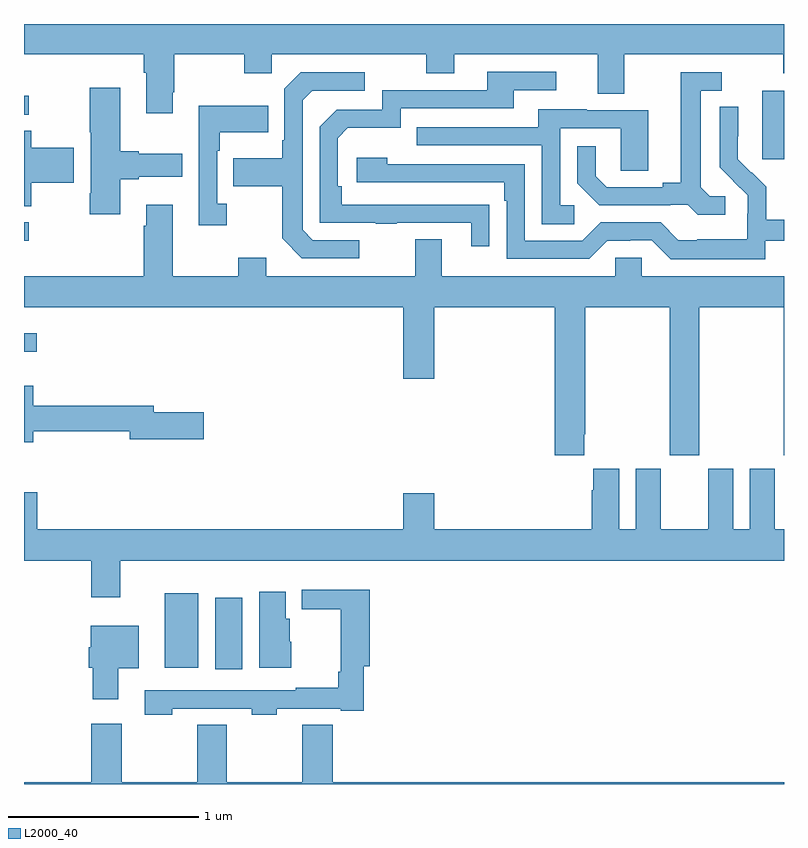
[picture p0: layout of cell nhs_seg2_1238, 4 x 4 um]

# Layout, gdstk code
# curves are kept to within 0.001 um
import gdstk
lib = gdstk.Library(unit=1e-6, precision=1e-09)
def R(c, l, rs):  # rectangles x0, y0, x1, y1
    for r in rs: c.add(gdstk.rectangle(r[:2], r[2:], *l))
def P(c, l, *ps):  # polygons
    for p in ps: c.add(gdstk.Polygon(p, *l))
L2000_40 = (2000, 40)

nhs_seg2_1238 = lib.new_cell('nhs_seg2_1238')
R(nhs_seg2_1238, L2000_40, [(176.006,640.404,176.149,640.78), (175.742,640.412,175.918,640.804), (175,642.075,175.066,642.172), (175,642.66,175.024,642.756), (178.886,643.089,179,643.45), (175,643.323,175.024,643.422)])
P(nhs_seg2_1238, L2000_40, [(175.783,643.441),(175.791,643.441),(175.791,643.64),(176.158,643.64),(176.158,643.541),(176.304,643.541),(176.304,643.64),(177.118,643.64),(177.118,643.541),(177.265,643.541),(177.265,643.64),(178.019,643.64),(178.019,643.432),(178.159,643.432),(178.159,643.64),(178.996,643.64),(178.996,643.541),(179,643.541),(179,643.8),(175,643.8),(175,643.64),(175.631,643.64),(175.631,643.544),(175.643,643.544),(175.643,643.329),(175.783,643.329)],
  [(177.449,642.848),(176.672,642.849),(176.672,642.946),(176.652,642.946),(176.652,643.2),(176.705,643.253),(176.982,643.253),(176.982,643.356),(177.577,643.356),(177.577,643.452),(177.802,643.452),(177.802,643.548),(177.437,643.548),(177.437,643.452),(176.886,643.452),(176.886,643.35),(176.646,643.35),(176.556,643.26),(176.556,642.753),(176.851,642.753),(176.851,642.748),(176.963,642.748),(176.963,642.753),(177.353,642.753),(177.353,642.63),(177.449,642.63)],
  [(176.764,642.663),(176.52,642.663),(176.466,642.717),(176.466,643.398),(176.517,643.449),(176.794,643.449),(176.794,643.545),(176.457,643.545),(176.37,643.458),(176.37,643.189),(176.358,643.189),(176.358,643.093),(176.101,643.093),(176.101,642.946),(176.358,642.946),(176.358,642.673),(176.463,642.567),(176.764,642.567)],
  [(178.69,642.894),(178.608,642.894),(178.561,642.941),(178.561,643.449),(178.672,643.449),(178.672,643.545),(178.457,643.545),(178.457,642.965),(178.361,642.965),(178.361,642.942),(178.066,642.942),(178.009,642.999),(178.009,643.156),(177.912,643.156),(177.912,642.962),(178.028,642.846),(178.4,642.846),(178.4,642.849),(178.494,642.849),(178.546,642.797),(178.69,642.797)],
  [(175.507,642.983),(175.603,642.983),(175.603,642.995),(175.834,642.995),(175.834,643.117),(175.603,643.117),(175.603,643.13),(175.507,643.13),(175.507,643.465),(175.345,643.465),(175.345,643.231),(175.352,643.231),(175.352,642.91),(175.345,642.91),(175.345,642.798),(175.507,642.798)],
  [(176.068,642.854),(176.016,642.854),(176.016,643.133),(176.029,643.133),(176.029,643.229),(176.285,643.229),(176.285,643.369),(175.92,643.369),(175.92,642.741),(176.068,642.741)],
  [(178.902,642.66),(179,642.66),(179,642.769),(178.907,642.769),(178.907,642.943),(178.83,643.02),(178.827,643.017),(178.757,643.088),(178.758,643.364),(178.662,643.364),(178.662,643.046),(178.808,642.898),(178.808,642.801),(178.806,642.801),(178.806,642.667),(178.543,642.667),(178.543,642.663),(178.443,642.663),(178.35,642.756),(178.035,642.756),(177.939,642.66),(177.636,642.66),(177.636,643.062),(176.912,643.062),(176.912,643.096),(176.751,643.096),(176.751,642.966),(177.527,642.966),(177.527,642.869),(177.54,642.869),(177.54,642.564),(177.975,642.564),(178.071,642.66),(178.19,642.66),(178.19,642.663),(178.305,642.663),(178.405,642.563),(178.902,642.563)],
  [(177.895,642.846),(177.822,642.846),(177.822,643.251),(178.14,643.251),(178.14,643.027),(178.285,643.027),(178.285,643.347),(177.961,643.347),(177.961,643.351),(177.707,643.351),(177.707,643.257),(177.067,643.257),(177.067,643.161),(177.726,643.161),(177.726,642.745),(177.895,642.745)],
  [(175.038,642.965),(175.261,642.965),(175.261,643.148),(175.038,643.148),(175.038,643.238),(175,643.238),(175,642.841),(175.038,642.841)],
  [(177.949,641.641),(177.954,641.641),(177.954,642.308),(178.399,642.308),(178.399,641.529),(178.554,641.529),(178.554,642.308),(178.999,642.308),(178.999,641.529),(179,641.529),(179,642.472),(178.251,642.472),(178.251,642.57),(178.113,642.57),(178.113,642.472),(177.199,642.472),(177.199,642.667),(177.059,642.667),(177.059,642.472),(176.275,642.472),(176.275,642.571),(176.128,642.571),(176.128,642.472),(175.783,642.472),(175.783,642.85),(175.643,642.85),(175.643,642.737),(175.631,642.737),(175.631,642.472),(175,642.472),(175,642.308),(176.996,642.308),(176.996,641.934),(177.16,641.934),(177.16,642.308),(177.794,642.308),(177.794,641.529),(177.949,641.529)],
  [(175.048,641.656),(175.556,641.656),(175.556,641.614),(175.945,641.614),(175.945,641.756),(175.684,641.756),(175.684,641.792),(175.048,641.792),(175.048,641.896),(175,641.896),(175,641.6),(175.048,641.6)],
  [(175.507,640.976),(179,640.976),(179,641.14),(178.951,641.14),(178.951,641.458),(178.82,641.458),(178.82,641.14),(178.732,641.14),(178.732,641.458),(178.601,641.458),(178.601,641.14),(178.351,641.14),(178.351,641.458),(178.22,641.458),(178.22,641.14),(178.132,641.14),(178.132,641.458),(177.995,641.458),(177.995,641.345),(177.989,641.345),(177.989,641.14),(177.16,641.14),(177.16,641.329),(176.996,641.329),(176.996,641.14),(175.07,641.14),(175.07,641.335),(175,641.335),(175,640.976),(175.355,640.976),(175.355,640.782),(175.507,640.782)],
  [(175.779,640.197),(176.199,640.197),(176.199,640.165),(176.331,640.165),(176.331,640.197),(176.666,640.197),(176.666,640.185),(176.789,640.185),(176.789,640.421),(176.819,640.421),(176.819,640.822),(176.463,640.822),(176.463,640.72),(176.668,640.72),(176.668,640.39),(176.653,640.39),(176.653,640.306),(176.431,640.306),(176.431,640.293),(175.635,640.293),(175.635,640.165),(175.779,640.165)],
  [(176.407,640.548),(176.398,640.548),(176.398,640.671),(176.377,640.671),(176.377,640.813),(176.237,640.813),(176.237,640.412),(176.407,640.412)],
  [(175.495,640.409),(175.603,640.409),(175.603,640.633),(175.352,640.633),(175.352,640.521),(175.34,640.521),(175.34,640.413),(175.361,640.413),(175.361,640.245),(175.495,640.245)],
  [(179,639.808),(176.624,639.808),(176.624,640.112),(176.464,640.112),(176.464,639.808),(176.066,639.808),(176.066,640.112),(175.912,640.112),(175.912,639.808),(175.515,639.808),(175.515,640.117),(175.355,640.117),(175.355,639.808),(175,639.808),(175,639.8),(179,639.8)])

lib.write_gds('nhs_seg2_1238.gds')
